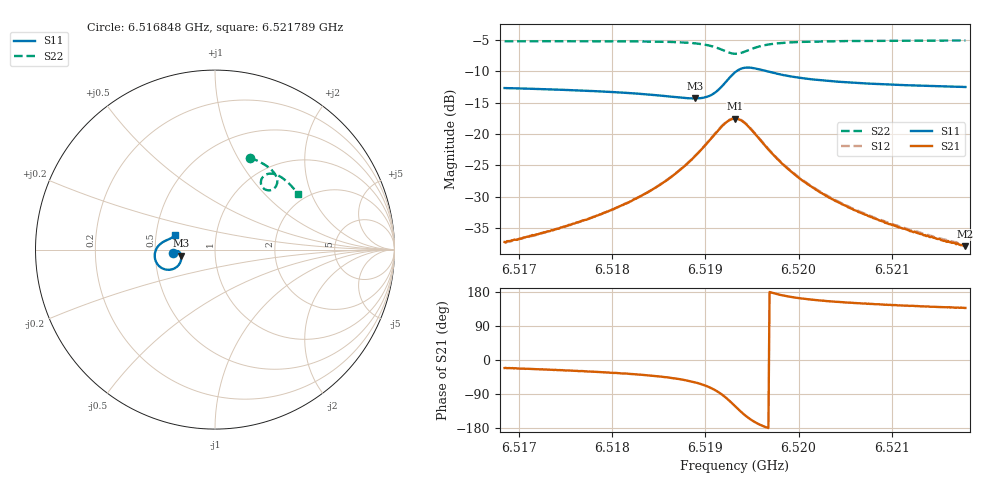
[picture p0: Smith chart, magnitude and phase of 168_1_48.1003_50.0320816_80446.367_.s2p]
#  HZ  S  RI  R  50.00
! Rohde & Schwarz Vector Network Analyzer
! Rohde-Schwarz,ZNB20-2Port,1311601062101988,3.16
! Created: UTC 12/23/2023, 3:51:28 AM
! freq[Hz]  re:S11  im:S11  re:S21  im:S21  re:S12  im:S12  re:S22  im:S22
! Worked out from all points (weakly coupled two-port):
!   401 points, 6.516848 GHz to 6.521789 GHz, reference 50 ohm
!   highest |S21| = -17.56 dB at 6.519319 GHz (marker M1); lowest = -37.9 dB at 6.521789 GHz (marker M2)
!   lowest |S11| = -14.3 dB at 6.518886 GHz (marker M3), VSWR 1.47, Z = 34.1 - j2.45 ohm
!   |S11| at or under -10 dB: start of sweep to 6.519335 GHz; 6.519657 GHz to end of sweep
!   |S22| runs from -7.2 to -5.1 dB; largest |S21 - S12| = 0.0041
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6.5168483e9  -0.2313 -0.02  0.0128 -0.00497  0.0128 -0.00454  0.1925 0.513
6.5173054e9  -0.2265 -0.013  0.0151 -0.00717  0.0153 -0.00665  0.2264 0.4996
6.5176759e9  -0.2213 -0.0085  0.0177 -0.00988  0.0178 -0.00945  0.2539 0.486
6.5181823e9  -0.2116 -0.00602  0.0229 -0.0171  0.0235 -0.0162  0.2917 0.4628
6.5185035e9  -0.2024 -0.00971  0.0283 -0.0266  0.0292 -0.0258  0.3167 0.4424
6.5187134e9  -0.1947 -0.0185  0.0324 -0.0386  0.0337 -0.0378  0.3328 0.4232
6.5188864e9  -0.1886 -0.0347  0.0343 -0.0563  0.0362 -0.0557  0.3442 0.4002
6.5189975e9  -0.1884 -0.0533  0.0313 -0.0746  0.0337 -0.0742  0.3473 0.3797
6.519084e9  -0.1948 -0.074  0.0221 -0.0934  0.0251 -0.0934  0.3431 0.3597
6.5192199e9  -0.2356 -0.1088  -0.0196 -0.1213  -0.0161 -0.1228  0.3123 0.3317
6.5193187e9  -0.2912 -0.1056  -0.0693 -0.1129  -0.0665 -0.1157  0.2741 0.3381
6.5193681e9  -0.3154 -0.0879  -0.0888 -0.0947  -0.0868 -0.0982  0.2607 0.3533
6.5194298e9  -0.3326 -0.0576  -0.101 -0.0665  -0.0997 -0.0702  0.2556 0.3763
6.519541e9  -0.332 -0.00886  -0.0953 -0.0254  -0.0952 -0.0282  0.2696 0.4079
6.5196522e9  -0.3163 0.0196  -0.0787 -0.00356  -0.0793 -0.00582  0.2922 0.421
6.5198992e9  -0.2855 0.0447  -0.0505 0.0114  -0.0512 0.01  0.3324 0.4206
6.5201462e9  -0.2669 0.0536  -0.0351 0.0133  -0.0359 0.0125  0.3595 0.4091
6.5203439e9  -0.2572 0.0577  -0.0278 0.013  -0.0284 0.0123  0.3765 0.3984
6.5205909e9  -0.2483 0.0618  -0.0216 0.0122  -0.0223 0.0117  0.3946 0.3844
6.5209738e9  -0.2383 0.0676  -0.0157 0.0108  -0.0164 0.0108  0.4186 0.3618
6.5214802e9  -0.2284 0.0745  -0.0112 0.00938  -0.0117 0.00924  0.4458 0.331
6.521789e9  -0.2233 0.0787  -0.00937 0.00863  -0.00971 0.00863  0.4606 0.3119
